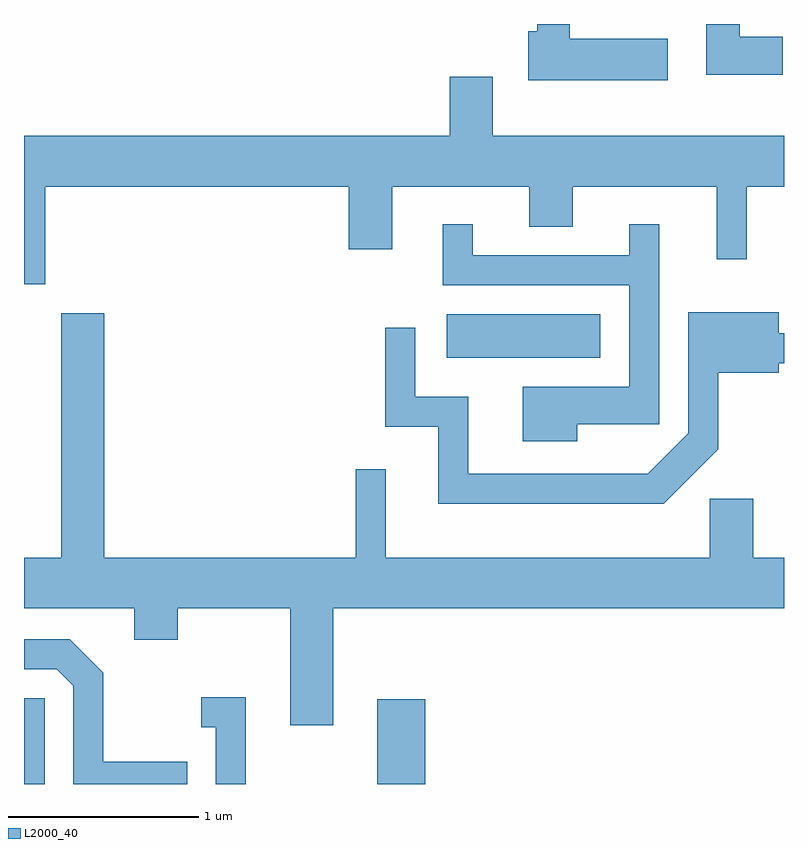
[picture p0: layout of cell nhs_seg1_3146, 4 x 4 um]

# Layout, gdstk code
import gdstk
lib = gdstk.Library(unit=1e-6, precision=1e-09)
def R(c, l, rs):  # rectangles x0, y0, x1, y1
    for r in rs: c.add(gdstk.rectangle(r[:2], r[2:], *l))
def P(c, l, *ps):  # polygons
    for p in ps: c.add(gdstk.Polygon(p, *l))
L2000_40 = (2000, 40)

nhs_seg1_3146 = lib.new_cell('nhs_seg1_3146')
R(nhs_seg1_3146, L2000_40, [(279.611,949.712,279.719,950.164), (281.471,949.712,281.724,950.159), (281.836,951.956,282.644,952.184)])
P(nhs_seg1_3146, L2000_40, [(283.604,953.644),(283.379,953.644),(283.379,953.712),(283.201,953.712),(283.201,953.446),(283.604,953.446)],
  [(282.999,953.634),(282.484,953.634),(282.484,953.712),(282.311,953.712),(282.311,953.674),(282.266,953.674),(282.266,953.416),(282.999,953.416)],
  [(279.724,952.856),(281.321,952.856),(281.321,952.526),(281.549,952.526),(281.549,952.856),(282.271,952.856),(282.271,952.646),(282.499,952.646),(282.499,952.856),(283.256,952.856),(283.256,952.473),(283.414,952.473),(283.414,952.856),(283.611,952.856),(283.611,953.124),(282.079,953.124),(282.079,953.434),(281.851,953.434),(281.851,953.124),(279.611,953.124),(279.611,952.341),(279.724,952.341)],
  [(282.524,951.606),(282.954,951.606),(282.954,952.658),(282.796,952.658),(282.796,952.494),(281.974,952.494),(281.974,952.658),(281.816,952.658),(281.816,952.336),(282.796,952.336),(282.796,951.804),(282.236,951.804),(282.236,951.516),(282.524,951.516)],
  [(283.264,951.474),(283.264,951.876),(283.584,951.876),(283.584,951.926),(283.611,951.926),(283.611,952.084),(283.584,952.084),(283.584,952.194),(283.106,952.194),(283.106,951.557),(282.894,951.344),(281.949,951.344),(281.949,951.749),(281.669,951.749),(281.669,952.113),(281.511,952.113),(281.511,951.591),(281.791,951.591),(281.791,951.186),(282.977,951.186)],
  [(281.239,950.636),(283.611,950.636),(283.611,950.904),(283.449,950.904),(283.449,951.214),(283.221,951.214),(283.221,950.904),(281.514,950.904),(281.514,951.368),(281.356,951.368),(281.356,950.904),(280.034,950.904),(280.034,952.189),(279.806,952.189),(279.806,950.904),(279.611,950.904),(279.611,950.636),(280.191,950.636),(280.191,950.471),(280.419,950.471),(280.419,950.636),(281.011,950.636),(281.011,950.021),(281.239,950.021)],
  [(280.469,949.829),(280.029,949.829),(280.029,950.297),(279.852,950.474),(279.611,950.474),(279.611,950.316),(279.784,950.316),(279.871,950.229),(279.871,949.712),(280.469,949.712)],
  [(280.779,950.169),(280.543,950.169),(280.543,950.011),(280.621,950.011),(280.621,949.712),(280.779,949.712)])

lib.write_gds('nhs_seg1_3146.gds')
